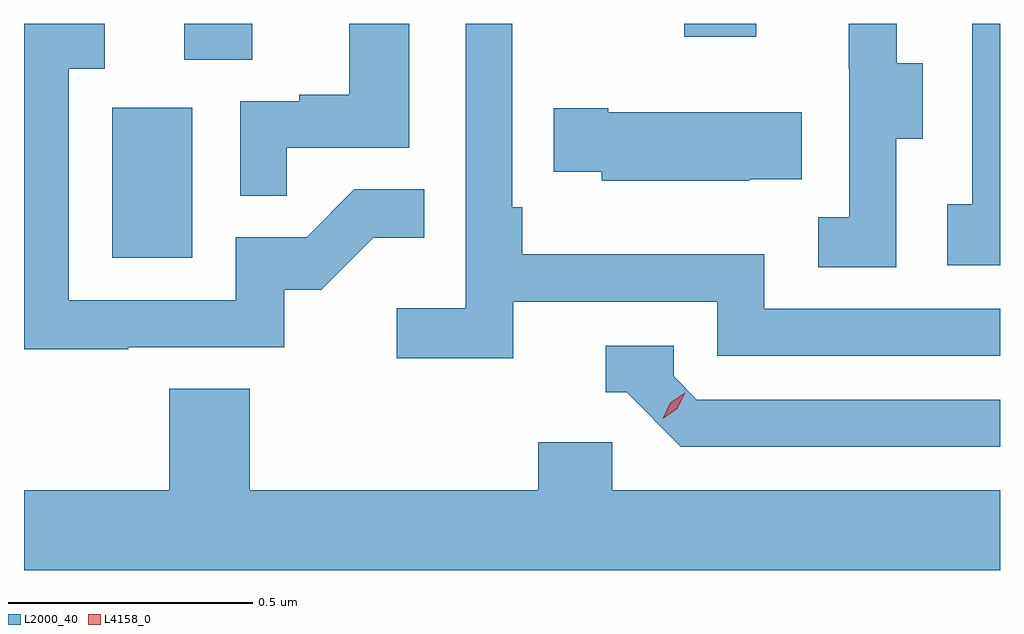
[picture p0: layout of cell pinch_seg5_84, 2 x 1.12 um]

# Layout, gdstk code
import gdstk
lib = gdstk.Library(unit=1e-6, precision=1e-09)
def R(c, l, rs):  # rectangles x0, y0, x1, y1
    for r in rs: c.add(gdstk.rectangle(r[:2], r[2:], *l))
def P(c, l, *ps):  # polygons
    for p in ps: c.add(gdstk.Polygon(p, *l))
L2000_40 = (2000, 40)
L4158_0 = (4158, 0)

pinch_seg5_84 = lib.new_cell('pinch_seg5_84')
R(pinch_seg5_84, L2000_40, [(1041.11,906.684,1041.274,906.991), (1041.257,907.09,1041.397,907.163), (1042.282,907.137,1042.429,907.163)])
P(pinch_seg5_84, L2000_40, [(1041.143,906.501),(1041.462,906.501),(1041.462,906.618),(1041.538,906.618),(1041.645,906.725),(1041.749,906.725),(1041.749,906.824),(1041.606,906.824),(1041.508,906.726),(1041.363,906.726),(1041.363,906.597),(1041.021,906.597),(1041.021,907.071),(1041.094,907.071),(1041.094,907.163),(1040.929,907.163),(1040.929,906.496),(1041.143,906.496)],
  [(1041.932,906.594),(1042.35,906.594),(1042.35,906.483),(1042.929,906.483),(1042.929,906.579),(1042.446,906.579),(1042.446,906.691),(1041.95,906.691),(1041.95,906.787),(1041.93,906.787),(1041.93,907.163),(1041.834,907.163),(1041.834,906.58),(1041.693,906.58),(1041.693,906.478),(1041.932,906.478)],
  [(1042.716,906.928),(1042.771,906.928),(1042.771,907.083),(1042.717,907.083),(1042.717,907.163),(1042.619,907.163),(1042.619,907.071),(1042.62,907.071),(1042.62,906.767),(1042.557,906.767),(1042.557,906.664),(1042.716,906.664)],
  [(1041.467,906.909),(1041.718,906.909),(1041.718,907.163),(1041.596,907.163),(1041.596,907.018),(1041.493,907.018),(1041.493,907.005),(1041.372,907.005),(1041.372,906.811),(1041.467,906.811)],
  [(1042.929,907.163),(1042.872,907.163),(1042.872,906.794),(1042.821,906.794),(1042.821,906.669),(1042.929,906.669)],
  [(1042.415,906.845),(1042.523,906.845),(1042.523,906.982),(1042.126,906.982),(1042.126,906.99),(1042.015,906.99),(1042.015,906.86),(1042.113,906.86),(1042.113,906.842),(1042.415,906.842)],
  [(1042.929,906.393),(1042.308,906.393),(1042.26,906.441),(1042.26,906.504),(1042.121,906.504),(1042.121,906.408),(1042.164,906.408),(1042.275,906.297),(1042.929,906.297)],
  [(1042.929,906.208),(1042.134,906.208),(1042.134,906.306),(1041.983,906.306),(1041.983,906.208),(1041.392,906.208),(1041.392,906.416),(1041.227,906.416),(1041.227,906.208),(1040.929,906.208),(1040.929,906.044),(1042.929,906.044)])
P(pinch_seg5_84, L4158_0, [(1042.238,906.354),(1042.238,906.354),(1042.253,906.387),(1042.283,906.407),(1042.284,906.407),(1042.284,906.407),(1042.268,906.374),(1042.238,906.354)])

lib.write_gds('pinch_seg5_84.gds')
